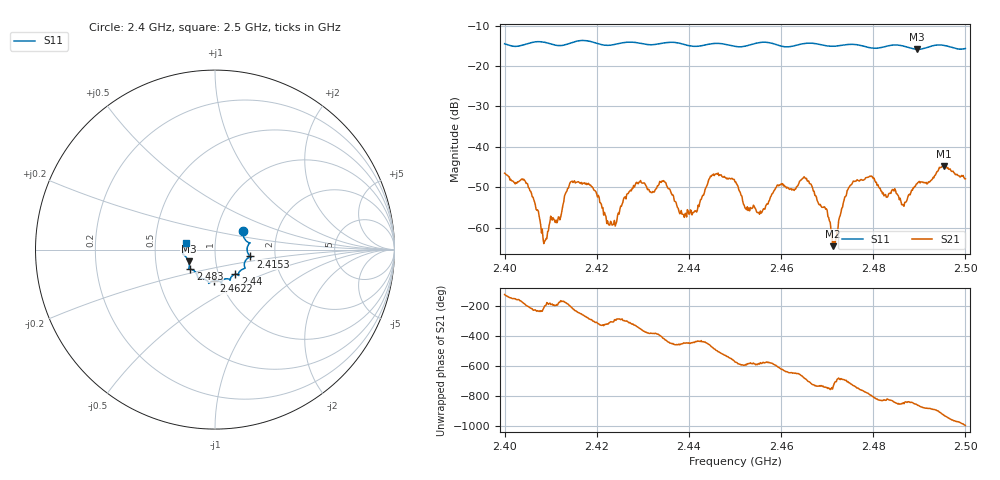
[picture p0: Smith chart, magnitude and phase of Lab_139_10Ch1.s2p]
# Hz S RI R 50
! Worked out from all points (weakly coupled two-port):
!   601 points, 2.4 GHz to 2.5 GHz, reference 50 ohm
!   highest |S21| = -44.80 dB at 2.4953 GHz (marker M1); lowest = -64.6 dB at 2.4713 GHz (marker M2)
!   lowest |S11| = -15.9 dB at 2.4895 GHz (marker M3), VSWR 1.38, Z = 36.9 - j4.99 ohm
!   |S11| at or under -10 dB: start of sweep to end of sweep
!   S12 and S22 are empty: the file has one direction only
!   S11 on the Smith chart (normalised r, x): 2.4 GHz: 1.33, +0.29; 2.4153 GHz: 1.48, -0.12; 2.44 GHz: 1.20, -0.34; 2.4622 GHz: 0.93, -0.33; 2.483 GHz: 0.74, -0.17; 2.5 GHz: 0.72, +0.06
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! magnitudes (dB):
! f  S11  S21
! 2.4 GHz  -14.5  -46.6
! 2.4047 GHz  -14.6  -49.1
! 2.4088 GHz  -14.2  -63.2
! 2.4153 GHz  -14.0  -49.0
! 2.4167 GHz  -13.7  -48.8
! 2.4232 GHz  -14.8  -58.8
! 2.4285 GHz  -14.2  -49.0
! 2.4333 GHz  -14.6  -49.6
! 2.44 GHz  -15.0  -56.7
! 2.4452 GHz  -14.5  -47.0
! 2.45 GHz  -15.2  -48.7
! 2.4552 GHz  -14.2  -56.3
! 2.4622 GHz  -15.2  -50.4
! 2.4667 GHz  -14.4  -49.7
! 2.4713 GHz  -15.1  -64.6
! 2.4755 GHz  -14.7  -48.9
! 2.483 GHz  -15.1  -52.5
! 2.4833 GHz  -15.0  -51.7
! 2.4867 GHz  -15.1  -54.7
! 2.4895 GHz  -15.9  -49.2
! 2.4953 GHz  -14.9  -44.8
! 2.5 GHz  -15.7  -47.9
